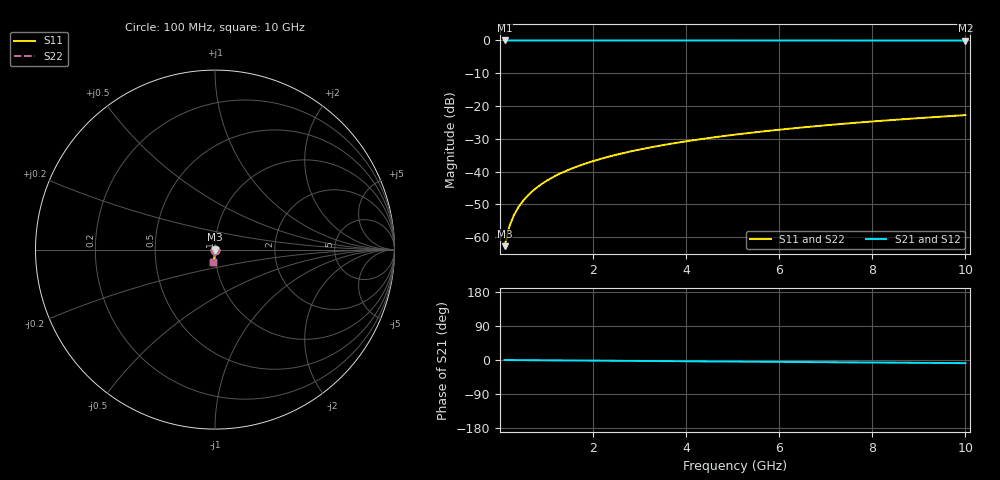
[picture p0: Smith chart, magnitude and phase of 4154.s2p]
# Hz S RI R 50.00
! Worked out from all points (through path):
!   100 points, 100 MHz to 10 GHz, reference 50 ohm
!   highest |S21| = 0.00 dB at 100 MHz (marker M1); lowest = 0.0 dB at 10 GHz (marker M2)
!   group delay of S21, straight-line fit = 2.3 ps
!   lowest |S11| = -62.8 dB at 100 MHz (marker M3), VSWR 1.00, Z = 50 - j0.072 ohm
!   |S11| at or under -10 dB: start of sweep to end of sweep
!   |S22| runs from -62.8 to -22.8 dB; largest |S21 - S12| = 0
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1e8  0.000102 -0.000719  0.9999 -0.00143  0.9999 -0.00143  0.000102 -0.000719
2e8  9.83e-05 -0.00144  0.9999 -0.00285  0.9999 -0.00285  9.83e-05 -0.00144
3e8  9.27e-05 -0.00216  0.9999 -0.00428  0.9999 -0.00428  9.27e-05 -0.00216
4e8  8.49e-05 -0.00288  0.9999 -0.00571  0.9999 -0.00571  8.49e-05 -0.00288
5e8  7.5e-05 -0.0036  0.9999 -0.00714  0.9999 -0.00714  7.5e-05 -0.0036
6e8  6.3e-05 -0.00432  0.9998 -0.00856  0.9998 -0.00856  6.3e-05 -0.00432
7e8  4.89e-05 -0.00504  0.9998 -0.00999  0.9998 -0.00999  4.89e-05 -0.00504
8e8  3.27e-05 -0.00576  0.9998 -0.0114  0.9998 -0.0114  3.27e-05 -0.00576
9e8  1.45e-05 -0.00648  0.9998 -0.0128  0.9998 -0.0128  1.45e-05 -0.00648
1.1e9  -2.82e-05 -0.00792  0.9997 -0.0157  0.9997 -0.0157  -2.82e-05 -0.00792
1.4e9  -0.000108 -0.0101  0.9996 -0.02  0.9996 -0.02  -0.000108 -0.0101
1.8e9  -0.000243 -0.013  0.9995 -0.0257  0.9995 -0.0257  -0.000243 -0.013
2.1e9  -0.000366 -0.0151  0.9993 -0.03  0.9993 -0.03  -0.000366 -0.0151
2.5e9  -0.00056 -0.018  0.9991 -0.0357  0.9991 -0.0357  -0.00056 -0.018
2.9e9  -0.000787 -0.0209  0.9988 -0.0415  0.9988 -0.0415  -0.000787 -0.0209
3.4e9  -0.00112 -0.0245  0.9984 -0.0486  0.9984 -0.0486  -0.00112 -0.0245
4.2e9  -0.00176 -0.0303  0.9976 -0.0601  0.9976 -0.0601  -0.00176 -0.0303
5.1e9  -0.00264 -0.0368  0.9965 -0.0731  0.9965 -0.0731  -0.00264 -0.0368
5.9e9  -0.00356 -0.0426  0.9953 -0.0846  0.9953 -0.0846  -0.00356 -0.0426
6.7e9  -0.00462 -0.0483  0.994 -0.0961  0.994 -0.0961  -0.00462 -0.0483
8.4e9  -0.00733 -0.0605  0.9906 -0.1205  0.9906 -0.1205  -0.00733 -0.0605
1e10  -0.0104 -0.0718  0.9868 -0.1435  0.9868 -0.1435  -0.0104 -0.0718
